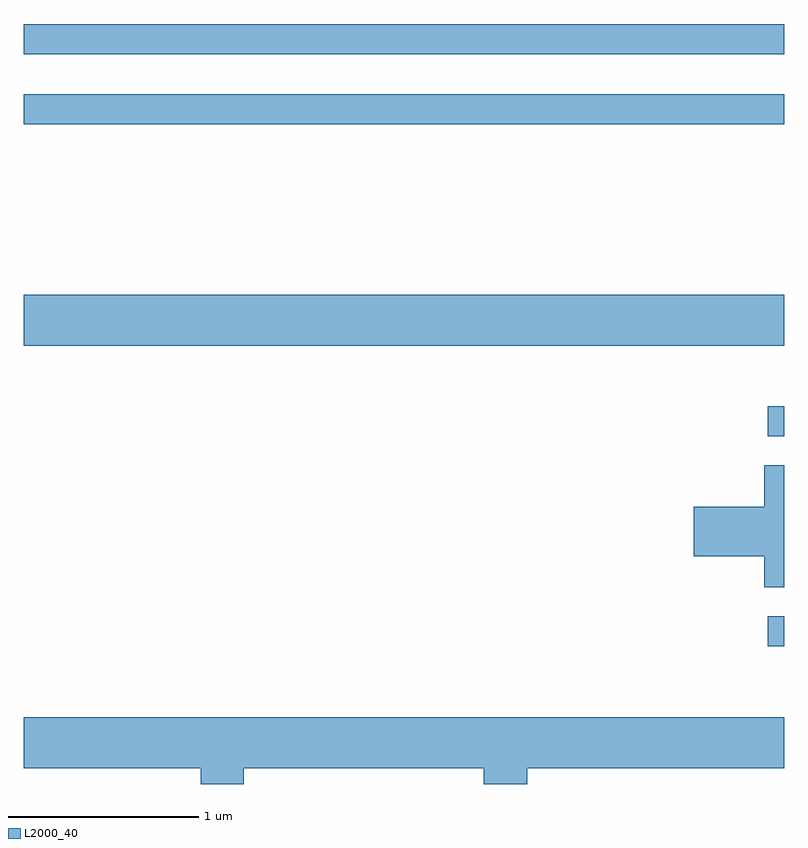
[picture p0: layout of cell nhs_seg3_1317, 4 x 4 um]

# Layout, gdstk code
import gdstk
lib = gdstk.Library(unit=1e-6, precision=1e-09)
def R(c, l, rs):  # rectangles x0, y0, x1, y1
    for r in rs: c.add(gdstk.rectangle(r[:2], r[2:], *l))
def P(c, l, *ps):  # polygons
    for p in ps: c.add(gdstk.Polygon(p, *l))
L2000_40 = (2000, 40)

nhs_seg3_1317 = lib.new_cell('nhs_seg3_1317')
R(nhs_seg3_1317, L2000_40, [(227.523,1166.616,227.611,1166.774), (227.523,1167.721,227.611,1167.879), (223.611,1168.196,227.611,1168.464), (223.611,1169.361,227.611,1169.519), (223.611,1169.731,227.611,1169.889)])
P(nhs_seg3_1317, L2000_40, [(227.611,1167.569),(227.506,1167.569),(227.506,1167.349),(227.136,1167.349),(227.136,1167.091),(227.506,1167.091),(227.506,1166.926),(227.611,1166.926)],
  [(224.769,1165.976),(226.031,1165.976),(226.031,1165.892),(226.259,1165.892),(226.259,1165.976),(227.611,1165.976),(227.611,1166.244),(223.611,1166.244),(223.611,1165.976),(224.541,1165.976),(224.541,1165.892),(224.769,1165.892)])

lib.write_gds('nhs_seg3_1317.gds')
